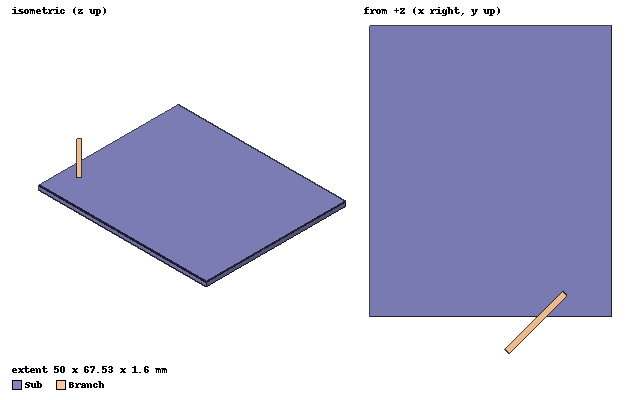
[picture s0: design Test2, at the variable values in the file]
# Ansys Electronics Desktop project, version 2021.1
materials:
  vacuum: permittivity=1
  FR4_epoxy: permittivity=4.4 dielectric_loss_tangent=0.02

design Test2 (HFSS, DrivenModal, model units mm)
options: Save_Adaptive_support_files
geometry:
  Sub [FR4_epoxy] = box(corner=(0mm, 0mm, -1.6mm), size=(50mm, 60mm, 1.6mm))
  Branch = rectangle(corner=(24.35mm, 15mm, 0mm), x_size=1.3mm, y_size=17mm)
  Branch.rotate(axis=Z, angle=-45deg)
